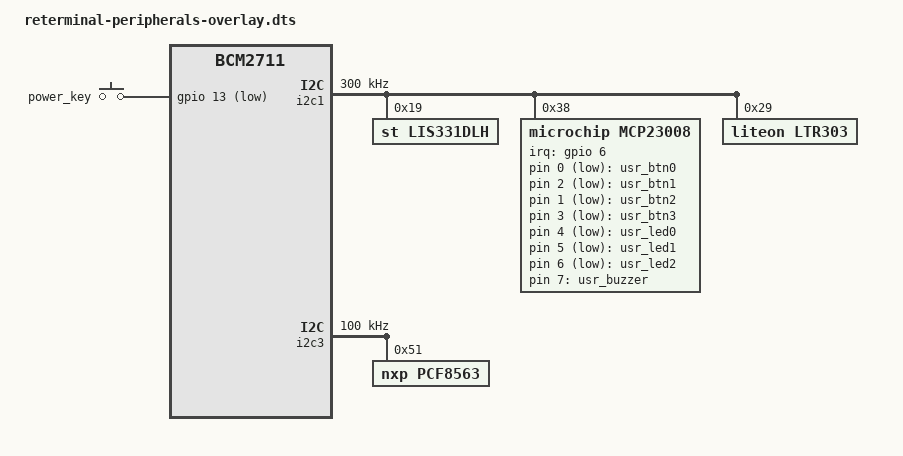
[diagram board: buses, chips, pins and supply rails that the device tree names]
// Copyright (c) 2026 CodeCraft AI Hardware contributors.
// SPDX-License-Identifier: Apache-2.0
//
// reTerminal (CM4) peripherals-only overlay: IO expander keys/LEDs/buzzer,
// accelerometer, light sensor and RTC. Excludes the ILI9881x DSI panel and
// its touch, which need Seeed's out-of-tree kernel modules — use the
// vendor overlay for those (see README.md).
//
// Hardware facts (pin/address/irq/timing) from Seeed-Studio/seeed-linux-
// dtoverlays overlays/rpi/reTerminal-overlay.dts (file header: MIT License),
// commit 1d53c3cf2c96 (2026-10-21). This is a fresh implementation with
// plain numeric constants so it compiles with a bare dtc (no cpp /
// kernel headers needed).

/dts-v1/;
/plugin/;

/ {
	compatible = "brcm,bcm2835", "brcm,bcm2708", "brcm,bcm2709", "brcm,bcm2711";

	/* Pin muxing: GPIO13 = power key (input, pull-up),
	 * GPIO6 = MCP23008 interrupt (input, pull-up).
	 * brcm,function: 0 = input. brcm,pull: 2 = pull-up. */
	fragment@0 {
		target = <&gpio>;
		__overlay__ {
			power_key: power_key {
				brcm,pins = <13>;
				brcm,function = <0>;
				brcm,pull = <2>;
			};

			mcp23008_pins: mcp23008_pins {
				brcm,pins = <6>;
				brcm,function = <0>;
				brcm,pull = <2>;
			};
		};
	};

	/* Board I2C bus (i2c1), 300 kHz: LIS331DLH accelerometer @0x19,
	 * MCP23008 IO expander @0x38 (irq on GPIO6, falling edge),
	 * LTR-303ALS light sensor @0x29. */
	fragment@1 {
		target = <&i2c1>;
		__overlay__ {
			status = "okay";
			clock-frequency = <300000>;

			#address-cells = <1>;
			#size-cells = <0>;

			lis331dlh@19 {
				compatible = "st,lis331dlh";
				reg = <0x19>;
				status = "okay";
			};

			mcp23008: mcp@38 {
				compatible = "microchip,mcp23008";
				reg = <0x38>;
				status = "okay";

				gpio-controller;
				#gpio-cells = <2>;

				interrupt-parent = <&gpio>;
				interrupts = <6 2>; /* GPIO6, IRQ_TYPE_EDGE_FALLING */
				interrupt-controller;
				#interrupt-cells = <2>;
			};

			ltr303@29 {
				compatible = "liteon,ltr303";
				reg = <0x29>;
				status = "okay";
			};
		};
	};

	/* RTC bus (i2c3), 100 kHz: PCF8563 @0x51. */
	fragment@2 {
		target = <&i2c3>;
		__overlay__ {
			status = "okay";
			clock-frequency = <100000>;

			#address-cells = <1>;
			#size-cells = <0>;

			pcf8563@51 {
				compatible = "nxp,pcf8563";
				reg = <0x51>;
			};
		};
	};

	/* MCP23008 pin map (from the vendor overlay):
	 *   pin 0 usr_btn0  KEY_A 30   pin 4 usr_led0 (active low)
	 *   pin 1 usr_btn2  KEY_D 32   pin 5 usr_led1 (active low)
	 *   pin 2 usr_btn1  KEY_S 31   pin 6 usr_led2 (active low)
	 *   pin 3 usr_btn3  KEY_F 33   pin 7 usr_buzzer (active high)
	 * Buttons and LEDs are active low (flag 1); the buzzer is active
	 * high (flag 0). The power key is GPIO13, KEY_SLEEP 142. */
	fragment@3 {
		target-path = "/";
		__overlay__ {
			gpio_keys: gpio-keys {
				compatible = "gpio-keys";
				pinctrl-names = "default";
				status = "okay";

				usr_btn0: usr_btn0 {
					debounce-interval = <5>;
					linux,code = <30>; /* KEY_A */
					label = "usr_btn0";
					gpios = <&mcp23008 0 1>;
					gpio-key,wakeup;
					autorepeat;
				};

				usr_btn1: usr_btn1 {
					debounce-interval = <5>;
					linux,code = <31>; /* KEY_S */
					label = "usr_btn1";
					gpios = <&mcp23008 2 1>;
					gpio-key,wakeup;
					autorepeat;
				};

				usr_btn2: usr_btn2 {
					debounce-interval = <5>;
					linux,code = <32>; /* KEY_D */
					label = "usr_btn2";
					gpios = <&mcp23008 1 1>;
					gpio-key,wakeup;
					autorepeat;
				};

				usr_btn3: usr_btn3 {
					debounce-interval = <5>;
					linux,code = <33>; /* KEY_F */
					label = "usr_btn3";
					gpios = <&mcp23008 3 1>;
					gpio-key,wakeup;
					autorepeat;
				};

				pwr_btn: pwr_btn {
					debounce-interval = <5>;
					linux,code = <142>; /* KEY_SLEEP */
					label = "power_key";
					gpios = <&gpio 13 1>;
					gpio-key,wakeup;
					autorepeat;
				};
			};

			gpio_leds: gpio-leds {
				compatible = "gpio-leds";
				status = "okay";

				usr_led0: usr_led0 {
					label = "usr_led0";
					gpios = <&mcp23008 4 1>;
					linux,default-trigger = "default-off";
				};

				usr_led1: usr_led1 {
					label = "usr_led1";
					gpios = <&mcp23008 5 1>;
					linux,default-trigger = "default-off";
				};

				usr_led2: usr_led2 {
					label = "usr_led2";
					gpios = <&mcp23008 6 1>;
					linux,default-trigger = "default-off";
				};

				usr_buzzer: usr_buzzer {
					label = "usr_buzzer";
					gpios = <&mcp23008 7 0>;
					linux,default-trigger = "default-off";
					default-state = "off";
				};
			};
		};
	};
};
